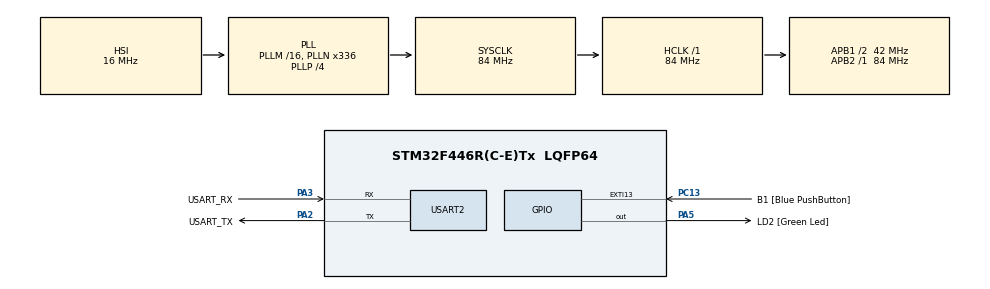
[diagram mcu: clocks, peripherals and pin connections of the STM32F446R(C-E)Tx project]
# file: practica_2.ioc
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Mcu.Family=STM32F4
Mcu.Name=STM32F446R(C-E)Tx
Mcu.Package=LQFP64
NVIC.PriorityGroup=NVIC_PRIORITYGROUP_0
PA13.GPIO_Label=TMS
PA13.Mode=Serial_Wire
PA13.Signal=SYS_JTMS-SWDIO
PA14.GPIO_Label=TCK
PA14.Mode=Serial_Wire
PA14.Signal=SYS_JTCK-SWCLK
PA2.GPIO_Label=USART_TX
PA2.Mode=Asynchronous
PA2.Signal=USART2_TX
PA3.GPIO_Label=USART_RX
PA3.Mode=Asynchronous
PA3.Signal=USART2_RX
PA5.GPIO_Label=LD2 [Green Led]
PA5.Signal=GPIO_Output
PB3.GPIO_Label=SWO
PB3.Signal=SYS_JTDO-SWO
PC13.GPIO_Label=B1 [Blue PushButton]
PC13.GPIO_ModeDefaultEXTI=GPIO_MODE_IT_FALLING
PC13.Signal=GPXTI13
PC14-OSC32_IN.Mode=LSE-External-Oscillator
PC14-OSC32_IN.Signal=RCC_OSC32_IN
PC15-OSC32_OUT.Mode=LSE-External-Oscillator
PC15-OSC32_OUT.Signal=RCC_OSC32_OUT
PH0-OSC_IN.Mode=HSE-External-Oscillator
PH0-OSC_IN.Signal=RCC_OSC_IN
PH1-OSC_OUT.Mode=HSE-External-Oscillator
PH1-OSC_OUT.Signal=RCC_OSC_OUT
ProjectManager.HeapSize=0x200
ProjectManager.StackSize=0x400
ProjectManager.TargetToolchain=STM32CubeIDE
RCC.48MHZClocksFreq_Value=84000000
RCC.AHBFreq_Value=84000000
RCC.APB1CLKDivider=RCC_HCLK_DIV2
RCC.APB1Freq_Value=42000000
RCC.APB1TimFreq_Value=84000000
RCC.APB2Freq_Value=84000000
RCC.APB2TimFreq_Value=84000000
RCC.CortexFreq_Value=84000000
RCC.FLatency-AdvancedSettings=FLASH_LATENCY_2
RCC.HCLKFreq_Value=84000000
RCC.HSE_VALUE=8000000
RCC.HSI_VALUE=16000000
RCC.PLLN=336
RCC.PLLP=RCC_PLLP_DIV4
RCC.SYSCLKFreq_VALUE=84000000
RCC.SYSCLKSource=RCC_SYSCLKSOURCE_PLLCLK
RCC.USBFreq_Value=168000000
RCC.VCOOutputFreq_Value=336000000
USART2.VirtualMode=VM_ASYNC
board=NUCLEO-F446RE

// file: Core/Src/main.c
/* USER CODE BEGIN Header */
/**
  ******************************************************************************
  * @file           : main.c
  * @brief          : Main program body
  ******************************************************************************
  * @attention
  *
  * Copyright (c) 2025 STMicroelectronics.
  * All rights reserved.
  *
  * This software is licensed under terms that can be found in the LICENSE file
  * in the root directory of this software component.
  * If no LICENSE file comes with this software, it is provided AS-IS.
  *
  ******************************************************************************
  */
/* USER CODE END Header */
#include "main.h"

UART_HandleTypeDef huart2;

void SystemClock_Config(void);
static void MX_GPIO_Init(void);
static void MX_USART2_UART_Init(void);

int main(void)
{

  /* MCU Configuration--------------------------------------------------------*/

  /* Reset of all peripherals, Initializes the Flash interface and the Systick. */
  HAL_Init();

  /* Configure the system clock */
  SystemClock_Config();

  /* Initialize all configured peripherals */
  MX_GPIO_Init();
  MX_USART2_UART_Init();
  /* USER CODE BEGIN 2 */

  delay_t delayLed;			/*Se crea la variable que contiene los parametros del delay*/

  blinkPattern_t blinkPattern[] = {
      {1000, MAX_REPEAT},   // 5 veces con período 1s
      {200,  MAX_REPEAT},   // 5 veces con período 200ms
      {100,  MAX_REPEAT}    // 5 veces con período 100ms
  };

  uint8_t patternIndex = 0;
  uint8_t repeatCount = 0;
  bool ledState = false;

  delayInit(&delayLed, (tick_t)(blinkPattern[patternIndex].period / 2)); /*Para inicializar el delay con 50% ciclo util.*/
  /* USER CODE END 2 */

  /* Infinite loop */
  while (1)
  {
	 	  if(delayRead(&delayLed)){
	 		  ledState = !ledState;
	 		  HAL_GPIO_TogglePin(LD2_GPIO_Port, LD2_Pin);
	 		  delayWrite(&delayLed, (tick_t)(blinkPattern[patternIndex].period / 2)); /*Para actualizar el delay con 50% ciclo util.*/
	           if (!ledState) {
	               repeatCount++;
	               if (repeatCount >= blinkPattern[patternIndex].repeats) {
	                   repeatCount = 0;
	                   patternIndex++;
	                   if (patternIndex >= (sizeof(blinkPattern)/sizeof(blinkPattern[0]))) {
	                       patternIndex = 0;  // reinicia patrón
	                   }
	               }
	           }
	 	  }
	   }
}

void SystemClock_Config(void)
{
  RCC_OscInitTypeDef RCC_OscInitStruct = {0};
  RCC_ClkInitTypeDef RCC_ClkInitStruct = {0};

  /** Configure the main internal regulator output voltage
  */
  __HAL_RCC_PWR_CLK_ENABLE();
  __HAL_PWR_VOLTAGESCALING_CONFIG(PWR_REGULATOR_VOLTAGE_SCALE3);

  /** Initializes the RCC Oscillators according to the specified parameters
  * in the RCC_OscInitTypeDef structure.
  */
  RCC_OscInitStruct.OscillatorType = RCC_OSCILLATORTYPE_HSI;
  RCC_OscInitStruct.HSIState = RCC_HSI_ON;
  RCC_OscInitStruct.HSICalibrationValue = RCC_HSICALIBRATION_DEFAULT;
  RCC_OscInitStruct.PLL.PLLState = RCC_PLL_ON;
  RCC_OscInitStruct.PLL.PLLSource = RCC_PLLSOURCE_HSI;
  RCC_OscInitStruct.PLL.PLLM = 16;
  RCC_OscInitStruct.PLL.PLLN = 336;
  RCC_OscInitStruct.PLL.PLLP = RCC_PLLP_DIV4;
  RCC_OscInitStruct.PLL.PLLQ = 2;
  RCC_OscInitStruct.PLL.PLLR = 2;
  if (HAL_RCC_OscConfig(&RCC_OscInitStruct) != HAL_OK)
  {
    Error_Handler();
  }

  /** Initializes the CPU, AHB and APB buses clocks
  */
  RCC_ClkInitStruct.ClockType = RCC_CLOCKTYPE_HCLK|RCC_CLOCKTYPE_SYSCLK
                              |RCC_CLOCKTYPE_PCLK1|RCC_CLOCKTYPE_PCLK2;
  RCC_ClkInitStruct.SYSCLKSource = RCC_SYSCLKSOURCE_PLLCLK;
  RCC_ClkInitStruct.AHBCLKDivider = RCC_SYSCLK_DIV1;
  RCC_ClkInitStruct.APB1CLKDivider = RCC_HCLK_DIV2;
  RCC_ClkInitStruct.APB2CLKDivider = RCC_HCLK_DIV1;

  if (HAL_RCC_ClockConfig(&RCC_ClkInitStruct, FLASH_LATENCY_2) != HAL_OK)
  {
    Error_Handler();
  }
}

static void MX_USART2_UART_Init(void)
{

  huart2.Instance = USART2;
  huart2.Init.BaudRate = 115200;
  huart2.Init.WordLength = UART_WORDLENGTH_8B;
  huart2.Init.StopBits = UART_STOPBITS_1;
  huart2.Init.Parity = UART_PARITY_NONE;
  huart2.Init.Mode = UART_MODE_TX_RX;
  huart2.Init.HwFlowCtl = UART_HWCONTROL_NONE;
  huart2.Init.OverSampling = UART_OVERSAMPLING_16;
  if (HAL_UART_Init(&huart2) != HAL_OK)
  {
    Error_Handler();
  }

}

static void MX_GPIO_Init(void)
{
  GPIO_InitTypeDef GPIO_InitStruct = {0};

  /* GPIO Ports Clock Enable */
  __HAL_RCC_GPIOC_CLK_ENABLE();
  __HAL_RCC_GPIOH_CLK_ENABLE();
  __HAL_RCC_GPIOA_CLK_ENABLE();
  __HAL_RCC_GPIOB_CLK_ENABLE();

  /*Configure GPIO pin Output Level */
  HAL_GPIO_WritePin(LD2_GPIO_Port, LD2_Pin, GPIO_PIN_RESET);

  /*Configure GPIO pin : B1_Pin */
  GPIO_InitStruct.Pin = B1_Pin;
  GPIO_InitStruct.Mode = GPIO_MODE_IT_FALLING;
  GPIO_InitStruct.Pull = GPIO_NOPULL;
  HAL_GPIO_Init(B1_GPIO_Port, &GPIO_InitStruct);

  /*Configure GPIO pin : LD2_Pin */
  GPIO_InitStruct.Pin = LD2_Pin;
  GPIO_InitStruct.Mode = GPIO_MODE_OUTPUT_PP;
  GPIO_InitStruct.Pull = GPIO_NOPULL;
  GPIO_InitStruct.Speed = GPIO_SPEED_FREQ_LOW;
  HAL_GPIO_Init(LD2_GPIO_Port, &GPIO_InitStruct);

}

/* USER CODE BEGIN 4 */
/*
 *@brief Funcion para cargar valor del retardo no bloqueante.
 *@param delay_t* delay: puntero a struct delay_t.
 *@param tick_t duration: uint32 duración del delay en ms.
 *@retval None
 * */
void delayInit(delay_t * delay, tick_t duration)
{
	if(delay == NULL) return;
	delay->duration = duration;
	delay->running = false;
	delay->startTime = (tick_t)(0);
}

/*
 *@brief Función para revisar el tiempo transcurrido del retardo.
 *@param delay_t* delay: puntero a struct delay_t
 *@retval True, si el el tiempo ya se cumplió
 *@retval False, para cualquier otro caso*/
bool_t delayRead(delay_t * delay)
{
	if(!delay->running){
		delay->startTime = (tick_t)(HAL_GetTick());
		delay->running = true;
	}else{
		if(((tick_t)(HAL_GetTick()) - delay->startTime) >= delay->duration){
			delay->running = false;
			return true;
		}
	}

	return false;
}

/*
 *@brief Función para cambiar el valor de la duración del delay
 *@param delay_t* delay: puntero a struct delay_t
 *@param tick_t duration: uint32 duración del delay en ms.
 *@retval None*/
void delayWrite(delay_t * delay, tick_t duration)
{
	delay->duration = duration;
	delay->running = false;
}
/* USER CODE END 4 */

void Error_Handler(void)
{
  __disable_irq();
  while (1)
  {
  }
}
